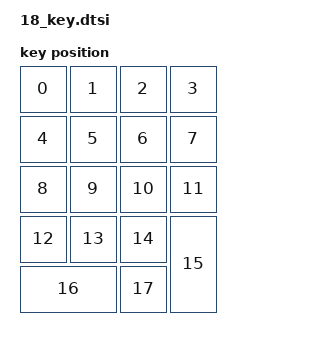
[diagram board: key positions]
#include <layouts/common/numpad/position_map.dtsi>
#include <physical_layouts.dtsi>

/ {
    layout_numpad_18_key: layout_numpad_18_key {
        compatible = "zmk,physical-layout";
        display-name = "18 Key Numpad";

        keys  //                     w   h    x    y     rot    rx    ry
            = <&key_physical_attrs 100 100    0    0       0     0     0>
            , <&key_physical_attrs 100 100  100    0       0     0     0>
            , <&key_physical_attrs 100 100  200    0       0     0     0>
            , <&key_physical_attrs 100 100  300    0       0     0     0>
            , <&key_physical_attrs 100 100    0  100       0     0     0>
            , <&key_physical_attrs 100 100  100  100       0     0     0>
            , <&key_physical_attrs 100 100  200  100       0     0     0>
            , <&key_physical_attrs 100 100  300  100       0     0     0>
            , <&key_physical_attrs 100 100    0  200       0     0     0>
            , <&key_physical_attrs 100 100  100  200       0     0     0>
            , <&key_physical_attrs 100 100  200  200       0     0     0>
            , <&key_physical_attrs 100 100  300  200       0     0     0>
            , <&key_physical_attrs 100 100    0  300       0     0     0>
            , <&key_physical_attrs 100 100  100  300       0     0     0>
            , <&key_physical_attrs 100 100  200  300       0     0     0>
            , <&key_physical_attrs 100 200  300  300       0     0     0>
            , <&key_physical_attrs 200 100    0  400       0     0     0>
            , <&key_physical_attrs 100 100  200  400       0     0     0>
            ;
    };
};

&layouts_common_numpad_position_map {
    layout_numpad_18_key {
        physical-layout = <&layout_numpad_18_key>;
        positions
            = <18 19 20 21>
            , < 0  1  2  3>
            , < 4  5  6  7>
            , < 8  9 10 11>
            , <12 13 14 15>
            , <16 22 17 23>
            ;
    };
};
